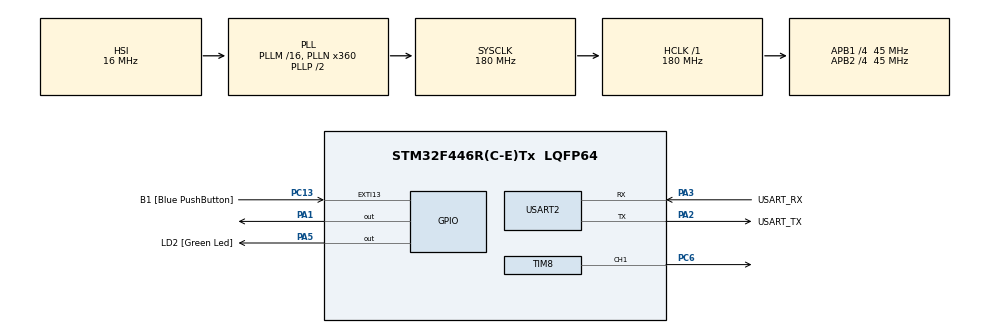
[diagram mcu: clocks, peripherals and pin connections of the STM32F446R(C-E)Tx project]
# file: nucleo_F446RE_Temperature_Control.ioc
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Mcu.Family=STM32F4
Mcu.Name=STM32F446R(C-E)Tx
Mcu.Package=LQFP64
NVIC.PriorityGroup=NVIC_PRIORITYGROUP_0
NVIC.TIM7_IRQn=true\:0\:0\:false\:false\:true\:true\:true\:true
PA1.GPIO_PuPd=GPIO_PULLUP
PA1.Signal=GPIO_Output
PA13.GPIO_Label=TMS
PA13.Mode=Serial_Wire
PA13.Signal=SYS_JTMS-SWDIO
PA14.GPIO_Label=TCK
PA14.Mode=Serial_Wire
PA14.Signal=SYS_JTCK-SWCLK
PA2.GPIO_Label=USART_TX
PA2.Mode=Asynchronous
PA2.Signal=USART2_TX
PA3.GPIO_Label=USART_RX
PA3.Mode=Asynchronous
PA3.Signal=USART2_RX
PA5.GPIO_Label=LD2 [Green Led]
PA5.Signal=GPIO_Output
PB3.GPIO_Label=SWO
PB3.Signal=SYS_JTDO-SWO
PC13.GPIO_Label=B1 [Blue PushButton]
PC13.GPIO_ModeDefaultEXTI=GPIO_MODE_IT_FALLING
PC13.Signal=GPXTI13
PC14-OSC32_IN.Mode=LSE-External-Oscillator
PC14-OSC32_IN.Signal=RCC_OSC32_IN
PC15-OSC32_OUT.Mode=LSE-External-Oscillator
PC15-OSC32_OUT.Signal=RCC_OSC32_OUT
PC6.Signal=S_TIM8_CH1
PH0-OSC_IN.Mode=HSE-External-Oscillator
PH0-OSC_IN.Signal=RCC_OSC_IN
PH1-OSC_OUT.Mode=HSE-External-Oscillator
PH1-OSC_OUT.Signal=RCC_OSC_OUT
ProjectManager.HeapSize=0x200
ProjectManager.StackSize=0x400
ProjectManager.TargetToolchain=STM32CubeIDE
RCC.48MHZClocksFreq_Value=84000000
RCC.AHBFreq_Value=180000000
RCC.APB1CLKDivider=RCC_HCLK_DIV4
RCC.APB1Freq_Value=45000000
RCC.APB1TimFreq_Value=90000000
RCC.APB2CLKDivider=RCC_HCLK_DIV4
RCC.APB2Freq_Value=45000000
RCC.APB2TimFreq_Value=90000000
RCC.CortexFreq_Value=180000000
RCC.FLatency-AdvancedSettings=FLASH_LATENCY_5
RCC.HCLKFreq_Value=180000000
RCC.HSE_VALUE=8000000
RCC.HSI_VALUE=16000000
RCC.PLLN=360
RCC.SYSCLKFreq_VALUE=180000000
RCC.SYSCLKSource=RCC_SYSCLKSOURCE_PLLCLK
RCC.USBFreq_Value=180000000
RCC.VCOOutputFreq_Value=360000000
SH.S_TIM8_CH1.0=TIM8_CH1,PWM Generation1 CH1
TIM6.Period=65535
TIM6.Prescaler=90-1
TIM7.Period=65531-1
TIM7.Prescaler=13734-1
TIM8.AutoReloadPreload=TIM_AUTORELOAD_PRELOAD_ENABLE
TIM8.Channel-PWM\ Generation1\ CH1=TIM_CHANNEL_1
TIM8.Period=44999
TIM8.Prescaler=199
USART2.VirtualMode=VM_ASYNC
VP_TIM6_VS_ClockSourceINT.Mode=Enable_Timer
VP_TIM7_VS_ClockSourceINT.Mode=Enable_Timer
board=NUCLEO-F446RE

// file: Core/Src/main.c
/* USER CODE BEGIN Header */
/**
  ******************************************************************************
  * @file           : main.c
  * @brief          : Main program body

  */
/* USER CODE END Header */
#include "main.h"

/* USER CODE BEGIN Includes */
#include <stdio.h>
#include <stdbool.h>
#include <string.h>
#include <math.h>
/* USER CODE END Includes */

/* USER CODE BEGIN PTD */
#define DS18B20_PORT GPIOA
#define DS18B20_PIN GPIO_PIN_1

/* *************** define application level MACROS ********************* */
#define SYSTEM_FREQ 0.1F			// sampling and actuation frequency 0.1 Hz
#define SYSTEM_LOOP_INTERVAL 10		// sampling and actuation period 10 s

#define MAX_CONTROL_SIGNAL 100.0F
#define MIN_CONTROL_SIGNAL 0.0F

#define MAX_DUTY_CYCLE 20.0F
#define MIN_DUTY_CYCLE 0.0F

/* to be used in final version with UI */
#define MIN_TEMPERATURE 20
#define MAX_TEMPERATURE 30

#define SENSOR_CALIBRATION_OFFSET -0.4F

typedef enum { DS18B20_ERROR = -1, DS18B20_OK = 1} DS18B20_error_codes_t;
/* USER CODE END PTD */

TIM_HandleTypeDef htim6;
TIM_HandleTypeDef htim7;
TIM_HandleTypeDef htim8;

UART_HandleTypeDef huart2;

/* USER CODE BEGIN PV */

/* *************** define global variables ********************* */
volatile uint32_t time = 0;

float temperature = 0.0;

float off_cycle = 0.0;
float duty_cycle = 100.0;
float setpoint = 0.0;					// setpoint in ºC

volatile bool trigger_system_flag = false;	// flag to trigger the digital control system

//volatile bool stop_flag = false;						// flag to stop the system

static uint8_t uart_buff[200];

/* USER CODE END PV */

void SystemClock_Config(void);
static void MX_GPIO_Init(void);
static void MX_USART2_UART_Init(void);
static void MX_TIM6_Init(void);
static void MX_TIM7_Init(void);
static void MX_TIM8_Init(void);
/* USER CODE BEGIN PFP */

/* *************** declare application level functions ********************* */

/* function to set the duty cycle*/
void set_duty_cycle(TIM_HandleTypeDef* const, float uint16_t);

/* function to implement the PI controller */
float pi_controller(float setpoint, float curr_input, float h);

void set_pin_output(GPIO_TypeDef *GPIOx, uint16_t GPIO_Pin);
void set_pin_input(GPIO_TypeDef *GPIOx, uint16_t GPIO_Pin);

float read_temperature(void);

/* blocking microseconds delay function using Timer 6 */
void delay_us(uint16_t delay_us);

/* */
uint8_t DS18B20_start(void);
void DS18B20_write(uint8_t data);
uint8_t DS18B20_read(void);

/* USER CODE END PFP */

/* USER CODE BEGIN 0 */

void delay_us(uint16_t delay_us)
{
	__HAL_TIM_SET_COUNTER(&htim6, 0);
	while( __HAL_TIM_GET_COUNTER(&htim6) < delay_us);
}

void set_pin_output(GPIO_TypeDef *GPIOx, uint16_t GPIO_Pin)
{
	GPIO_InitTypeDef GPIO_InitStruct = {0};
	GPIO_InitStruct.Pin = GPIO_Pin;
	GPIO_InitStruct.Mode = GPIO_MODE_OUTPUT_PP;
	GPIO_InitStruct.Speed = GPIO_SPEED_FREQ_LOW;
	HAL_GPIO_Init(GPIOx, &GPIO_InitStruct);
}

void set_pin_input(GPIO_TypeDef *GPIOx, uint16_t GPIO_Pin)
{
	GPIO_InitTypeDef GPIO_InitStruct = {0};
	GPIO_InitStruct.Pin = GPIO_Pin;
	GPIO_InitStruct.Mode = GPIO_MODE_INPUT;
	GPIO_InitStruct.Pull = GPIO_PULLUP;
	HAL_GPIO_Init(GPIOx, &GPIO_InitStruct);
}

uint8_t DS18B20_start(void)
{
	uint8_t retcode = 0;

	set_pin_output(DS18B20_PORT, DS18B20_PIN);   // set the pin as output
	HAL_GPIO_WritePin(DS18B20_PORT, DS18B20_PIN, 0);  // pull the pin low
	delay_us(480);   // delay according to datasheet

	set_pin_input(DS18B20_PORT, DS18B20_PIN);    // set the pin as input
	delay_us(80);    // delay according to datasheet

	if (!HAL_GPIO_ReadPin(DS18B20_PORT, DS18B20_PIN) )
	{
		retcode = DS18B20_OK;    // if the pin is low i.e the presence pulse is detected
	}
	else
	{
		retcode = DS18B20_ERROR;
	}

	delay_us(400); // 480 us delay totally.

	return retcode;
}

void DS18B20_write(uint8_t data)
{
	set_pin_output(DS18B20_PORT, DS18B20_PIN);  // set as output

	for (int i = 0; i < 8; i++)
	{

		if ( (data & (1 << i) ) !=0)  // if the bit is high
		{
			// write 1
			set_pin_output(DS18B20_PORT, DS18B20_PIN);  // set as output
			HAL_GPIO_WritePin (DS18B20_PORT, DS18B20_PIN, 0);  // pull the pin LOW
			delay_us(1);  // wait for 1 us

			set_pin_input(DS18B20_PORT, DS18B20_PIN);  // set as input
			delay_us(50);  // wait for 60 us
		}

		else  // if the bit is low
		{
			// write 0cycle
			set_pin_output(DS18B20_PORT, DS18B20_PIN);
			HAL_GPIO_WritePin (DS18B20_PORT, DS18B20_PIN, 0);  // pull the pin LOW
			delay_us(50);  // wait for 60 us

			set_pin_input(DS18B20_PORT, DS18B20_PIN);
		}
	}
}

uint8_t DS18B20_read(void)
{
	uint8_t value = 0;

	set_pin_input(DS18B20_PORT, DS18B20_PIN);

	for (int i = 0; i < 8; i++)
	{
		set_pin_output(DS18B20_PORT, DS18B20_PIN);   // set the pin as output

		HAL_GPIO_WritePin(GPIOA, GPIO_PIN_1, 0);  // pull the data pin LOW
		delay_us(2);  // wait for 2 us

		set_pin_input(DS18B20_PORT, DS18B20_PIN);   // set the pin as output

		if (HAL_GPIO_ReadPin(GPIOA, GPIO_PIN_1))  // if the pin is HIGH
		{
			value |= 1 << i;  // read = 1
		}
		delay_us(60);  // wait for 60 us
	}
	return value;
}

/* USER CODE END 0 */

int main(void)
{
  /* USER CODE BEGIN 1 */
	DS18B20_error_codes_t DS18B20_retcode = DS18B20_OK;
  /* USER CODE END 1 */

  /* MCU Configuration--------------------------------------------------------*/

  /* Reset of all peripherals, Initializes the Flash interface and the Systick. */
  HAL_Init();

  /* Configure the system clock */
  SystemClock_Config();

  /* Initialize all configured peripherals */
  MX_GPIO_Init();
  MX_USART2_UART_Init();
  MX_TIM6_Init();
  MX_TIM7_Init();
  MX_TIM8_Init();
  /* USER CODE BEGIN 2 */
  HAL_StatusTypeDef ret = HAL_OK;

  /* start timer used for micro second delay function */
  HAL_TIM_Base_Start(&htim6);
  if(ret != HAL_OK)
  {
  	  sprintf((char *) uart_buff, "Error starting TIM6!\n\r");
  	  HAL_UART_Transmit(&huart2, uart_buff, strlen( (const char *) uart_buff), HAL_MAX_DELAY);
  }

  /* start timer used for triggering the system @ 0.1 Hz (acquire, process, actuate) */
  HAL_TIM_Base_Start_IT(&htim7);
  if(ret != HAL_OK)
  {
  	  sprintf((char *) uart_buff, "Error starting TIM7!\n\r");
  	  HAL_UART_Transmit(&huart2, uart_buff, strlen( (const char *) uart_buff), HAL_MAX_DELAY);
  }

  /* start timer used for PWM generation */
  ret = HAL_TIM_Base_Start(&htim8);
  if(ret != HAL_OK)
  {
  	  sprintf((char *) uart_buff, "Error starting TIM8!\n\r");
  	  HAL_UART_Transmit(&huart2, uart_buff, strlen( (const char *) uart_buff), HAL_MAX_DELAY);
  }

  ret = HAL_TIM_PWM_Start(&htim8, TIM_CHANNEL_1);
  if(ret != HAL_OK)
  {
	  sprintf((char *) uart_buff, "Error starting PWM!\n\r");
  	  HAL_UART_Transmit(&huart2, uart_buff, strlen( (const char *) uart_buff), HAL_MAX_DELAY);
  }

  set_duty_cycle(&htim8, duty_cycle);

  /* */
  sprintf((char *) uart_buff, "##### Init app! #####\n\r");
  HAL_UART_Transmit(&huart2, uart_buff, strlen( (const char *) uart_buff), HAL_MAX_DELAY);

  /* USER CODE END 2 */

  /* Infinite loop */
  /* USER CODE BEGIN WHILE */

  DS18B20_retcode = DS18B20_start();

  if(DS18B20_retcode == DS18B20_ERROR)
  {
	  sprintf((char *) uart_buff, "Error starting sensor!\n\r");
	  HAL_UART_Transmit(&huart2, uart_buff, strlen( (const char *) uart_buff), HAL_MAX_DELAY);
  }

  off_cycle = 0.0;
  duty_cycle = 100.0 - off_cycle;
  set_duty_cycle(&htim8, duty_cycle);

  setpoint = 20.0;

  while(true)
  {
    /* USER CODE END WHILE */

    /* USER CODE BEGIN 3 */
	  if(trigger_system_flag)
	  {
		  //HAL_GPIO_WritePin(LD2_GPIO_Port, LD2_Pin, GPIO_PIN_SET);

		  /* 1) sample system: measure load temperature and ambient temperature */
		  temperature = read_temperature();
		  temperature = temperature + SENSOR_CALIBRATION_OFFSET;
		  /* round using 2 decimal places */
		  temperature = floor(temperature * 100) / 100;

		  /* 2) compute PI response */
		  float u = pi_controller(setpoint, temperature, SYSTEM_FREQ);   // testing
		  float duty_cycle = 100.0 - u;

		  /* 3) actuation */
		  set_duty_cycle(&htim8, duty_cycle);

		  /* specify time instant at which the system starts  */
		  if(time >= 30)
		  {
//			  off_cycle = 35.0;
//			  duty_cycle = 100 - off_cycle;

			  setpoint = 28.0;	// test closed loop system
		  }

		  //sprintf((char *) uart_buff, "%lu,%.1f,%.1f\r\n", time, temperature, off_cycle);
		  //HAL_UART_Transmit(&huart2, uart_buff, strlen( (const char *) uart_buff), HAL_MAX_DELAY);

		  time += SYSTEM_LOOP_INTERVAL;

		  /* clear trigger flag to prevent entering the loop several times between system cycles */
		  trigger_system_flag = false;

		  //HAL_GPIO_WritePin(LD2_GPIO_Port, LD2_Pin, GPIO_PIN_RESET);	// GPIO PA5 = D13
	  }

  }
  /* USER CODE END 3 */
}

void SystemClock_Config(void)
{
  RCC_OscInitTypeDef RCC_OscInitStruct = {0};
  RCC_ClkInitTypeDef RCC_ClkInitStruct = {0};

  /** Configure the main internal regulator output voltage
  */
  __HAL_RCC_PWR_CLK_ENABLE();
  __HAL_PWR_VOLTAGESCALING_CONFIG(PWR_REGULATOR_VOLTAGE_SCALE1);

  /** Initializes the RCC Oscillators according to the specified parameters
  * in the RCC_OscInitTypeDef structure.
  */
  RCC_OscInitStruct.OscillatorType = RCC_OSCILLATORTYPE_HSI;
  RCC_OscInitStruct.HSIState = RCC_HSI_ON;
  RCC_OscInitStruct.HSICalibrationValue = RCC_HSICALIBRATION_DEFAULT;
  RCC_OscInitStruct.PLL.PLLState = RCC_PLL_ON;
  RCC_OscInitStruct.PLL.PLLSource = RCC_PLLSOURCE_HSI;
  RCC_OscInitStruct.PLL.PLLM = 16;
  RCC_OscInitStruct.PLL.PLLN = 360;
  RCC_OscInitStruct.PLL.PLLP = RCC_PLLP_DIV2;
  RCC_OscInitStruct.PLL.PLLQ = 2;
  RCC_OscInitStruct.PLL.PLLR = 2;
  if (HAL_RCC_OscConfig(&RCC_OscInitStruct) != HAL_OK)
  {
    Error_Handler();
  }

  /** Activate the Over-Drive mode
  */
  if (HAL_PWREx_EnableOverDrive() != HAL_OK)
  {
    Error_Handler();
  }

  /** Initializes the CPU, AHB and APB buses clocks
  */
  RCC_ClkInitStruct.ClockType = RCC_CLOCKTYPE_HCLK|RCC_CLOCKTYPE_SYSCLK
                              |RCC_CLOCKTYPE_PCLK1|RCC_CLOCKTYPE_PCLK2;
  RCC_ClkInitStruct.SYSCLKSource = RCC_SYSCLKSOURCE_PLLCLK;
  RCC_ClkInitStruct.AHBCLKDivider = RCC_SYSCLK_DIV1;
  RCC_ClkInitStruct.APB1CLKDivider = RCC_HCLK_DIV4;
  RCC_ClkInitStruct.APB2CLKDivider = RCC_HCLK_DIV4;

  if (HAL_RCC_ClockConfig(&RCC_ClkInitStruct, FLASH_LATENCY_5) != HAL_OK)
  {
    Error_Handler();
  }
}

static void MX_TIM6_Init(void)
{

  TIM_MasterConfigTypeDef sMasterConfig = {0};

  htim6.Instance = TIM6;
  htim6.Init.Prescaler = 90-1;
  htim6.Init.CounterMode = TIM_COUNTERMODE_UP;
  htim6.Init.Period = 65535;
  htim6.Init.AutoReloadPreload = TIM_AUTORELOAD_PRELOAD_DISABLE;
  if (HAL_TIM_Base_Init(&htim6) != HAL_OK)
  {
    Error_Handler();
  }
  sMasterConfig.MasterOutputTrigger = TIM_TRGO_RESET;
  sMasterConfig.MasterSlaveMode = TIM_MASTERSLAVEMODE_DISABLE;
  if (HAL_TIMEx_MasterConfigSynchronization(&htim6, &sMasterConfig) != HAL_OK)
  {
    Error_Handler();
  }

}

static void MX_TIM7_Init(void)
{

  TIM_MasterConfigTypeDef sMasterConfig = {0};

  htim7.Instance = TIM7;
  htim7.Init.Prescaler = 13734-1;
  htim7.Init.CounterMode = TIM_COUNTERMODE_UP;
  htim7.Init.Period = 65531-1;
  htim7.Init.AutoReloadPreload = TIM_AUTORELOAD_PRELOAD_DISABLE;
  if (HAL_TIM_Base_Init(&htim7) != HAL_OK)
  {
    Error_Handler();
  }
  sMasterConfig.MasterOutputTrigger = TIM_TRGO_RESET;
  sMasterConfig.MasterSlaveMode = TIM_MASTERSLAVEMODE_DISABLE;
  if (HAL_TIMEx_MasterConfigSynchronization(&htim7, &sMasterConfig) != HAL_OK)
  {
    Error_Handler();
  }

}

static void MX_TIM8_Init(void)
{

  TIM_MasterConfigTypeDef sMasterConfig = {0};
  TIM_OC_InitTypeDef sConfigOC = {0};
  TIM_BreakDeadTimeConfigTypeDef sBreakDeadTimeConfig = {0};

  htim8.Instance = TIM8;
  htim8.Init.Prescaler = 199;
  htim8.Init.CounterMode = TIM_COUNTERMODE_UP;
  htim8.Init.Period = 44999;
  htim8.Init.ClockDivision = TIM_CLOCKDIVISION_DIV1;
  htim8.Init.RepetitionCounter = 0;
  htim8.Init.AutoReloadPreload = TIM_AUTORELOAD_PRELOAD_ENABLE;
  if (HAL_TIM_PWM_Init(&htim8) != HAL_OK)
  {
    Error_Handler();
  }
  sMasterConfig.MasterOutputTrigger = TIM_TRGO_RESET;
  sMasterConfig.MasterSlaveMode = TIM_MASTERSLAVEMODE_DISABLE;
  if (HAL_TIMEx_MasterConfigSynchronization(&htim8, &sMasterConfig) != HAL_OK)
  {
    Error_Handler();
  }
  sConfigOC.OCMode = TIM_OCMODE_PWM1;
  sConfigOC.Pulse = 0;
  sConfigOC.OCPolarity = TIM_OCPOLARITY_HIGH;
  sConfigOC.OCNPolarity = TIM_OCNPOLARITY_HIGH;
  sConfigOC.OCFastMode = TIM_OCFAST_DISABLE;
  sConfigOC.OCIdleState = TIM_OCIDLESTATE_RESET;
  sConfigOC.OCNIdleState = TIM_OCNIDLESTATE_RESET;
  if (HAL_TIM_PWM_ConfigChannel(&htim8, &sConfigOC, TIM_CHANNEL_1) != HAL_OK)
  {
    Error_Handler();
  }
  sBreakDeadTimeConfig.OffStateRunMode = TIM_OSSR_DISABLE;
  sBreakDeadTimeConfig.OffStateIDLEMode = TIM_OSSI_DISABLE;
  sBreakDeadTimeConfig.LockLevel = TIM_LOCKLEVEL_OFF;
  sBreakDeadTimeConfig.DeadTime = 0;
  sBreakDeadTimeConfig.BreakState = TIM_BREAK_DISABLE;
  sBreakDeadTimeConfig.BreakPolarity = TIM_BREAKPOLARITY_HIGH;
  sBreakDeadTimeConfig.AutomaticOutput = TIM_AUTOMATICOUTPUT_DISABLE;
  if (HAL_TIMEx_ConfigBreakDeadTime(&htim8, &sBreakDeadTimeConfig) != HAL_OK)
  {
    Error_Handler();
  }
  HAL_TIM_MspPostInit(&htim8);

}

static void MX_USART2_UART_Init(void)
{

  huart2.Instance = USART2;
  huart2.Init.BaudRate = 115200;
  huart2.Init.WordLength = UART_WORDLENGTH_8B;
  huart2.Init.StopBits = UART_STOPBITS_1;
  huart2.Init.Parity = UART_PARITY_NONE;
  huart2.Init.Mode = UART_MODE_TX_RX;
  huart2.Init.HwFlowCtl = UART_HWCONTROL_NONE;
  huart2.Init.OverSampling = UART_OVERSAMPLING_16;
  if (HAL_UART_Init(&huart2) != HAL_OK)
  {
    Error_Handler();
  }

}

static void MX_GPIO_Init(void)
{
  GPIO_InitTypeDef GPIO_InitStruct = {0};

  /* GPIO Ports Clock Enable */
  __HAL_RCC_GPIOC_CLK_ENABLE();
  __HAL_RCC_GPIOH_CLK_ENABLE();
  __HAL_RCC_GPIOA_CLK_ENABLE();
  __HAL_RCC_GPIOB_CLK_ENABLE();

  /*Configure GPIO pin Output Level */
  HAL_GPIO_WritePin(GPIOA, GPIO_PIN_1|LD2_Pin, GPIO_PIN_RESET);

  /*Configure GPIO pin : B1_Pin */
  GPIO_InitStruct.Pin = B1_Pin;
  GPIO_InitStruct.Mode = GPIO_MODE_IT_FALLING;
  GPIO_InitStruct.Pull = GPIO_NOPULL;
  HAL_GPIO_Init(B1_GPIO_Port, &GPIO_InitStruct);

  /*Configure GPIO pin : PA1 */
  GPIO_InitStruct.Pin = GPIO_PIN_1;
  GPIO_InitStruct.Mode = GPIO_MODE_OUTPUT_PP;
  GPIO_InitStruct.Pull = GPIO_PULLUP;
  GPIO_InitStruct.Speed = GPIO_SPEED_FREQ_LOW;
  HAL_GPIO_Init(GPIOA, &GPIO_InitStruct);

  /*Configure GPIO pin : LD2_Pin */
  GPIO_InitStruct.Pin = LD2_Pin;
  GPIO_InitStruct.Mode = GPIO_MODE_OUTPUT_PP;
  GPIO_InitStruct.Pull = GPIO_NOPULL;
  GPIO_InitStruct.Speed = GPIO_SPEED_FREQ_LOW;
  HAL_GPIO_Init(LD2_GPIO_Port, &GPIO_InitStruct);

}

/* USER CODE BEGIN 4 */
void HAL_TIM_PeriodElapsedCallback(TIM_HandleTypeDef *htim)
{
	//HAL_GPIO_TogglePin(LD2_GPIO_Port, LD2_Pin);
	trigger_system_flag = true;
}

float read_temperature(void)
{
	uint8_t temp_msb_byte = 0x00;
	uint8_t temp_lsb_byte = 0x00;

	/* start conversion */
	DS18B20_start();
	HAL_Delay(1);
	DS18B20_write(0xCC);  // skip ROM
	DS18B20_write(0x44);  // convert t
	HAL_Delay(750);

	DS18B20_start();
	HAL_Delay(1);
	DS18B20_write(0xCC);  // skip ROM
	DS18B20_write(0xBE);  // Read Scratch-pad

	temp_lsb_byte = DS18B20_read();
	temp_msb_byte = DS18B20_read();
	/* end conversion */

	int16_t temperature = (temp_msb_byte << 8) | temp_lsb_byte;
	float temperature_fp = (float) temperature / 16;

	return temperature_fp;
}

void set_duty_cycle(TIM_HandleTypeDef* const handle, const float duty_cycle)
{
	assert(handle != NULL);
	assert( (duty_cycle >= 0.0) && (duty_cycle <= 100.0) );

	uint32_t new_OCCR = (uint32_t)((float)(handle->Instance->ARR) * duty_cycle * 0.01);

	/* In case the new duty cycle is bigger than the reload register, saturate it to the reload register */
	if(new_OCCR > handle->Instance->ARR)
	{
		new_OCCR = handle->Instance->ARR;
	}

	handle->Instance->CCR1 = new_OCCR;
}

/* function to implement the discrete PI controller */
float pi_controller(float setpoint, float curr_input, float h)
{
    // works great with h = 10 s

	/* Controller gains */
    static const float K = 47.50;
    static const float Ki = 0.003;

//    float Ti = K / Ki;
    //static const Td = 0;                 // no D component

    float error = 0.0;
    static float integral = 0.0;

    //static float error_prev = 0.0;
    //static float u_prev = 0.0;

    /* closed loop discrete implementation -> controller has pole in the origin and a zero in -s1/s0 */
//    float s0 = K * (1 + h / Ti);
//    float s1 = -K;
    /* compute control signal */
//    float u = u_prev + s0*error + s1*error_prev;    // discrete model

    /* compute error signal */
    error = setpoint - curr_input;

    /* update error integral */
    integral += error*h;

    /* compute control signal */
    float u = (K*error) + (Ki*integral);    // continuous model

    /* implement anti windup (specially important if the setpoint is manually controlled )*/

    /* implement saturation block */
    if(u > MAX_CONTROL_SIGNAL)
    {
        u = MAX_CONTROL_SIGNAL;
    }
    if(u < MIN_CONTROL_SIGNAL)
    {
        u = MIN_CONTROL_SIGNAL;
    }

    // DEBUG and data extraction
	sprintf((char *) uart_buff, "t:%lu\ttemp:%.2f\terror:%.2f\t prop:%.2f\tintegral:%.2f u:%.2f \t ref:%.1f\r\n", time, temperature, error, K*error, Ki*integral, u , setpoint);
	HAL_UART_Transmit(&huart2, uart_buff, strlen( (const char *) uart_buff), HAL_MAX_DELAY);

    /* update previous error value (discrete implementation) */
    //error_prev = error;
    //u_prev = u;

    return u;
}
/* USER CODE END 4 */

void Error_Handler(void)
{
  __disable_irq();
  while (1)
  {
  }
}
